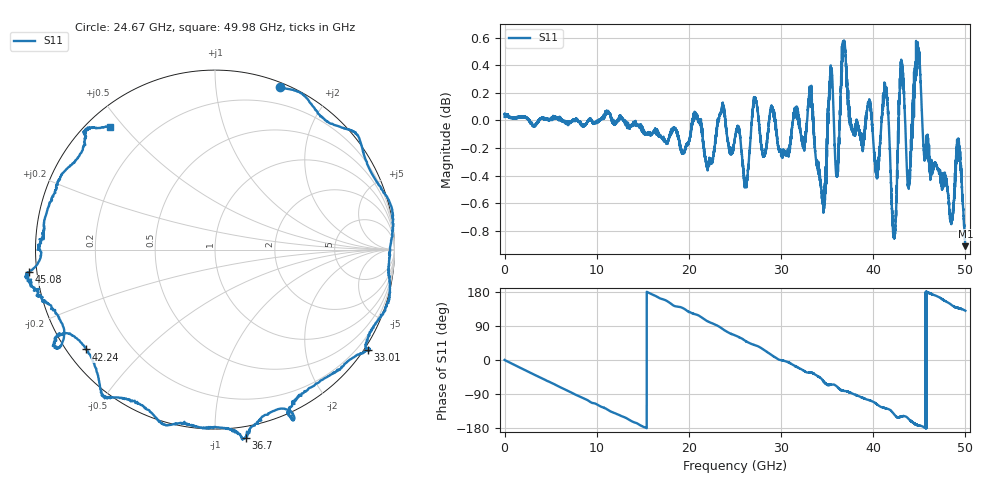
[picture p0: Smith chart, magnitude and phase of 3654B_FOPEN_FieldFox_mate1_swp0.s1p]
!Created with skrf (http://scikit-rf.org).
# Hz S RI R 50.0
!freq ReS11 ImS11
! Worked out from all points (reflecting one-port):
!   10001 points, 300 kHz to 50 GHz, reference 50 ohm
!   lowest |S11| = -0.9 dB at 50 GHz (marker M1), VSWR 19.04, Z = 3.19 + j23.2 ohm
!   phase of S11 starts at 0 deg and turns -590 deg over the sweep
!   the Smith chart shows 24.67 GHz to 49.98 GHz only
!   S11 on the Smith chart (normalised r, x): 24.67 GHz: 0.04, +1.48; 33.01 GHz: -0.10, -3.35; 36.7 GHz: -0.07, -1.17; 42.24 GHz: 0.05, -0.34; 45.08 GHz: -0.02, -0.06; 49.98 GHz: 0.06, +0.46
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300000  1.003 0.00177
2.655284e9  0.8483 -0.5297
6.250262e9  0.2724 -0.9625
9.030246e9  -0.2828 -0.959
1.250022e10  -0.8313 -0.5608
1.563521e10  -0.988 0.0455
1.875019e10  -0.7683 0.6243
2.146017e10  -0.3538 0.9222
2.348016e10  0.093 1.003
2.466515e10  0.3629 0.9041
2.500015e10  0.4171 0.8934
2.740014e10  0.8064 0.6103
2.891013e10  0.9818 0.2422
3.125011e10  0.9749 -0.2142
3.30101e10  0.8511 -0.5569
3.520509e10  0.4234 -0.9316
3.600008e10  0.3476 -0.8904
3.669508e10  0.1721 -1.049
3.750008e10  0.0651 -0.9955
3.955506e10  -0.2814 -0.9754
4.136505e10  -0.6234 -0.8132
4.223505e10  -0.7163 -0.5561
4.288004e10  -0.8931 -0.5067
4.375004e10  -0.8445 -0.4283
4.508003e10  -1.036 -0.1261
4.898001e10  -0.7233 0.6365
4.998e10  -0.5844 0.6857
5e10  -0.5793 0.689
